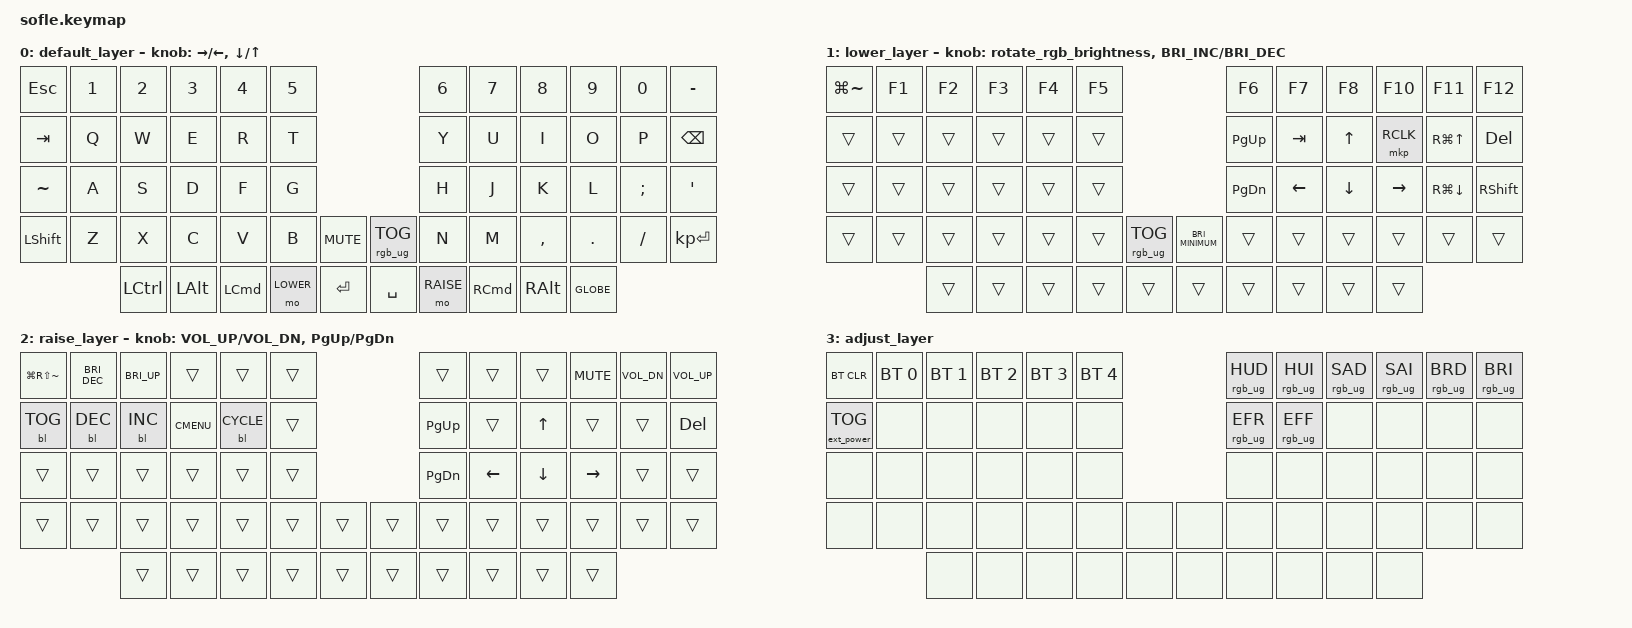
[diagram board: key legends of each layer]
/*
 * Copyright (c) 2020 The ZMK Contributors
 *
 * SPDX-License-Identifier: MIT
 */

#include <behaviors.dtsi>
#include <dt-bindings/zmk/backlight.h>
#include <dt-bindings/zmk/bt.h>
#include <dt-bindings/zmk/ext_power.h>
#include <dt-bindings/zmk/keys.h>
#include <dt-bindings/zmk/pointing.h>
#include <dt-bindings/zmk/rgb.h>

#define BASE 0
#define LOWER 1
#define RAISE 2
#define ADJUST 3

/ {
    // Activate ADJUST layer by pressing raise and lower

    conditional_layers {
        compatible = "zmk,conditional-layers";

        adjust_layer {
            if-layers = <LOWER RAISE>;
            then-layer = <ADJUST>;
        };
    };

    behaviors {
        rotate_rgb_brightness: rotate_rgb_brightness {
            compatible = "zmk,behavior-sensor-rotate";
            label = "ROTATE_RGB_BRIGHTNESS";
            #sensor-binding-cells = <0>;
            bindings = <&rgb_ug RGB_BRI>, <&rgb_ug RGB_BRD>;
        };
    };

    keymap {
        compatible = "zmk,keymap";

        default_layer {
            // ------------------------------------------------------------------------------------------------------------
            // |   `   |  1  |  2  |  3   |  4   |  5   |                   |  6   |  7    |  8    |  9   |   0   |       |
            // |  ESC  |  Q  |  W  |  E   |  R   |  T   |                   |  Y   |  U    |  I    |  O   |   P   | BKSPC |
            // |  TAB  |  A  |  S  |  D   |  F   |  G   |                   |  H   |  J    |  K    |  L   |   ;   |   '   |
            // | SHIFT |  Z  |  X  |  C   |  V   |  B   |  MUTE  |  |       |  N   |  M    |  ,    |  .   |   /   | SHIFT |
            //               | GUI | ALT  | CTRL | LOWER|  ENTER |  | SPACE | RAISE| CTRL  | ALT   | GUI  |

            bindings = <
&kp ESC    &kp N1  &kp N2     &kp N3    &kp N4            &kp N5                                    &kp N6     &kp N7             &kp N8     &kp N9     &kp N0    &kp MINUS
&kp TAB    &kp Q   &kp W      &kp E     &kp R             &kp T                                     &kp Y      &kp U              &kp I      &kp O      &kp P     &kp BSPC
&kp TILDE  &kp A   &kp S      &kp D     &kp F             &kp G                                     &kp H      &kp J              &kp K      &kp L      &kp SEMI  &kp SQT
&kp LSHFT  &kp Z   &kp X      &kp C     &kp V             &kp B      &kp C_MUTE    &rgb_ug RGB_TOG  &kp N      &kp M              &kp COMMA  &kp DOT    &kp FSLH  &kp KP_ENTER
                   &kp LCTRL  &kp LALT  &kp LEFT_COMMAND  &mo LOWER  &kp RET       &kp SPACE        &mo RAISE  &kp RIGHT_COMMAND  &kp RALT   &kp GLOBE
            >;

            sensor-bindings = <&inc_dec_kp RIGHT LEFT>, <&inc_dec_kp DOWN UP>;
        };

        lower_layer {
            // TODO: Some binds are waiting for shifted keycode support.
            // ------------------------------------------------------------------------------------------------------------
            // |       |  F1 |  F2 |  F3  |  F4  |  F5  |                   |  F6  |  F7   |  F8   |  F9  |  F10  |  F11  |
            // |   `   |  1  |  2  |  3   |  4   |  5   |                   |  6   |  7    |  8    |  9   |   0   |  F12  |
            // |       |  !  |  @  |  #   |  $   |  %   |                   |  ^   |  &    |  *    |  (   |   )   |   |   |
            // |       |  =  |  -  |  +   |  {   |  }   |        |  |       |  [   |  ]    |  ;    |  :   |   \   |       |
            //               |     |      |      |      |        |  |       |      |       |       |      |

            bindings = <
&kp LG(TILDE)  &kp F1  &kp F2  &kp F3  &kp F4  &kp F5                                               &kp F6       &kp F7    &kp F8    &kp F10    &kp F11       &kp F12
&trans         &trans  &trans  &trans  &trans  &trans                                               &kp PAGE_UP  &kp TAB   &kp UP    &mkp RCLK  &kp RG(UP)    &kp DEL
&trans         &trans  &trans  &trans  &trans  &trans                                               &kp PG_DN    &kp LEFT  &kp DOWN  &kp RIGHT  &kp RG(DOWN)  &kp RIGHT_SHIFT
&trans         &trans  &trans  &trans  &trans  &trans  &rgb_ug RGB_TOG    &kp C_BRIGHTNESS_MINIMUM  &trans       &trans    &trans    &trans     &trans        &trans
                       &trans  &trans  &trans  &trans  &trans             &trans                    &trans       &trans    &trans    &trans
            >;

            sensor-bindings =
                <&rotate_rgb_brightness>,
                <&inc_dec_kp C_BRI_INC C_BRI_DEC>;
        };

        raise_layer {
            // ------------------------------------------------------------------------------------------------------------
            // | BTCLR | BT1  | BT2  |  BT3  |  BT4  |  BT5 |                |      |      |       |      |       |       |
            // |       | INS  | PSCR | GUI   |       |      |                | PGUP |      |   ^   |      |       |       |
            // |       | ALT  | CTRL | SHIFT |       | CAPS |                | PGDN |   <- |   v   |  ->  |  DEL  | BKSPC |
            // |       | UNDO | CUT  | COPY  | PASTE |      |      |  |      |      |      |       |      |       |       |
            //                |      |       |       |      |      |  |      |      |      |       |      |

            bindings = <
&kp LG(RS(TILDE))  &kp C_BRI_DEC  &kp C_BRI_UP  &trans       &trans        &trans                    &trans     &trans    &trans    &kp K_MUTE  &kp C_VOL_DN  &kp C_VOL_UP
&bl BL_TOG         &bl BL_DEC     &bl BL_INC    &kp K_CMENU  &bl BL_CYCLE  &trans                    &kp PG_UP  &trans    &kp UP    &trans      &trans        &kp DEL
&trans             &trans         &trans        &trans       &trans        &trans                    &kp PG_DN  &kp LEFT  &kp DOWN  &kp RIGHT   &trans        &trans
&trans             &trans         &trans        &trans       &trans        &trans  &trans    &trans  &trans     &trans    &trans    &trans      &trans        &trans
                                  &trans        &trans       &trans        &trans  &trans    &trans  &trans     &trans    &trans    &trans
            >;

            sensor-bindings = <&inc_dec_kp C_VOL_UP C_VOL_DN &inc_dec_kp PG_UP PG_DN>;
        };

        adjust_layer {
            // ----------------------------------------------------------------------------------------------------------------------------
            // | BTCLR  |  BT1    |  BT2    |   BT3   |   BT4   |   BT5   |                  |      |      |       |      |       |       |
            // | EXTPWR | RGB_HUD | RGB_HUI | RGB_SAD | RGB_SAI | RGB_EFF |                  |      |      |       |      |       |       |
            // |        | RGB_BRD | RGB_BRI |         |         |         |                  |      |      |       |      |       |       |
            // |        |         |         |         |         |         | RGB_TOG | |      |      |      |       |      |       |       |
            //                    |         |         |         |         |         | |      |      |      |       |      |

            bindings = <
&bt BT_CLR         &bt BT_SEL 0  &bt BT_SEL 1  &bt BT_SEL 2  &bt BT_SEL 3  &bt BT_SEL 4                  &rgb_ug RGB_HUD  &rgb_ug RGB_HUI  &rgb_ug RGB_SAD  &rgb_ug RGB_SAI  &rgb_ug RGB_BRD  &rgb_ug RGB_BRI
&ext_power EP_TOG  &none         &none         &none         &none         &none                         &rgb_ug RGB_EFR  &rgb_ug RGB_EFF  &none            &none            &none            &none
&none              &none         &none         &none         &none         &none                         &none            &none            &none            &none            &none            &none
&none              &none         &none         &none         &none         &none         &none    &none  &none            &none            &none            &none            &none            &none
                                 &none         &none         &none         &none         &none    &none  &none            &none            &none            &none
            >;
        };

        extra1 { status = "reserved"; };

        extra2 { status = "reserved"; };

        extra3 { status = "reserved"; };

        extra4 { status = "reserved"; };
    };
};
